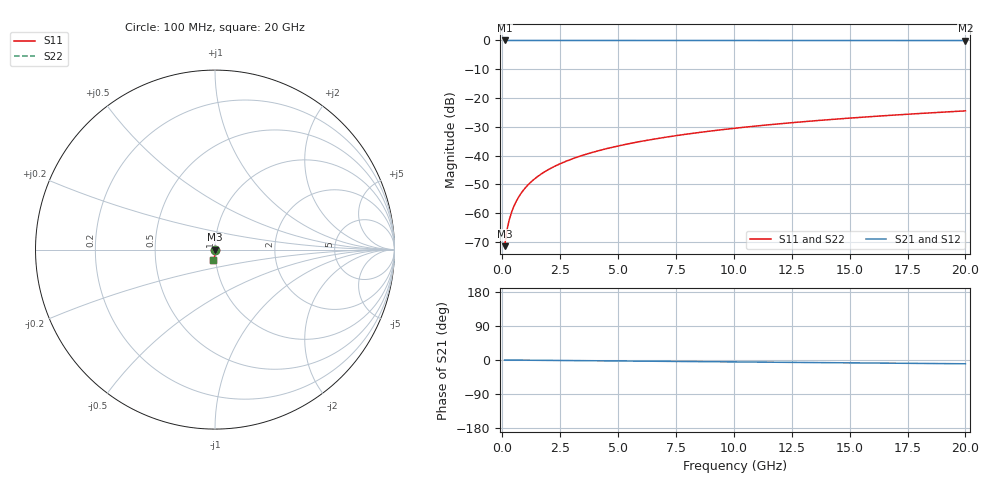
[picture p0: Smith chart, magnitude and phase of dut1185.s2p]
! Touchstone file exported from HFSS 2026.1.0
!  File:  C:/ffzhzh/LocalFiles/Ansys_Project_Files/temp_train_TSV_1185_1783192331_22436.aedt
!  Generated:  03:13:32 AM Jul  5, 2026
!  Design:  TSV
!  Project:  temp_train_TSV_1185_1783192331_22436
! Variables:
!  h_bsmrdl = 2um
!  h_ox = 20um
!  h_rdl = 5um
!  h_sub = 99.81um
!  h_tmrdl = 5um
!  h_tsv = 99.81um
!  h_via = 3um
!  l_bsmrdl = 300um
!  l_sub = 426.04um
!  l_tmrdl = 200um
!  m_sub = 200um
!  pitch = 38.5um
!  r_tsv = 13.02um
!  s_tmrdl = 10um
!  w_bsmrdl = 18um
!  w_sub = 500um
!  w_tmrdl = 12um
!  x_tsv_center1 = 206um
!  x_tsv_center2 = 524um
!  x_tsv_center3 = 736um
!  x_tsv_center4 = 1054um
!  x_tsv_center5 = 1266um
!  x_tsv_center6 = 1584um
# GHz S MA R 50.000000
! Terminal data exported
! Port[1] = TSV1_1_T1
! Port[2] = TSV1_1_T2
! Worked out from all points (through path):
!   200 points, 100 MHz to 20 GHz, reference 50 ohm
!   highest |S21| = 0.00 dB at 100 MHz (marker M1); lowest = 0.0 dB at 20 GHz (marker M2)
!   group delay of S21, straight-line fit = 1.38 ps
!   lowest |S11| = -71.5 dB at 100 MHz (marker M3), VSWR 1.00, Z = 50 - j0.0243 ohm
!   |S11| at or under -10 dB: start of sweep to end of sweep
!   |S22| runs from -71.5 to -24.5 dB; largest |S21 - S12| = 1.3e-15
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0.1  0.0002665 -65.9  0.9999 -0.1  0.9999 -0.1  0.0002665 -65.9
! Gamma 0 0 0 0
! Port Impedance 50 0 50 0
0.2  0.000508 -75.5  0.9999 -0.1  0.9999 -0.1  0.000508 -75.5
0.3  0.0007648 -78.4  0.9998 -0.2  0.9998 -0.2  0.0007648 -78.4
0.4  0.001033 -79.8  0.9998 -0.2  0.9998 -0.2  0.001033 -79.8
0.5  0.00131 -80.6  0.9998 -0.3  0.9998 -0.3  0.00131 -80.6
0.7  0.001883 -81.9  0.9997 -0.4  0.9997 -0.4  0.001883 -81.9
0.8  0.002176 -82.4  0.9997 -0.4  0.9997 -0.4  0.002176 -82.4
1  0.002766 -83.3  0.9996 -0.5  0.9996 -0.5  0.002766 -83.3
1.2  0.003359 -84.2  0.9996 -0.6  0.9996 -0.6  0.003359 -84.2
1.4  0.003953 -84.8  0.9996 -0.7  0.9996 -0.7  0.003953 -84.8
1.7  0.004844 -85.7  0.9995 -0.9  0.9995 -0.9  0.004844 -85.7
2  0.005734 -86.4  0.9995 -1.0  0.9995 -1.0  0.005734 -86.4
2.7  0.00781 -87.5  0.9994 -1.4  0.9994 -1.4  0.00781 -87.5
3.5  0.01019 -88.4  0.9994 -1.8  0.9994 -1.8  0.01019 -88.4
4.2  0.01227 -89.1  0.9993 -2.1  0.9993 -2.1  0.01227 -89.1
5  0.01467 -89.7  0.9992 -2.5  0.9992 -2.5  0.01467 -89.7
6.8  0.02007 -91.0  0.999 -3.4  0.999 -3.4  0.02007 -91.0
8.3  0.02459 -92.0  0.9988 -4.2  0.9988 -4.2  0.02459 -92.0
10.1  0.03001 -93.1  0.9985 -5.1  0.9985 -5.1  0.03001 -93.1
13.4  0.03994 -95.0  0.998 -6.7  0.998 -6.7  0.03994 -95.0
16.7  0.04986 -96.8  0.9974 -8.3  0.9974 -8.3  0.04986 -96.8
20  0.05975 -98.6  0.9968 -10.0  0.9968 -10.0  0.05975 -98.6
